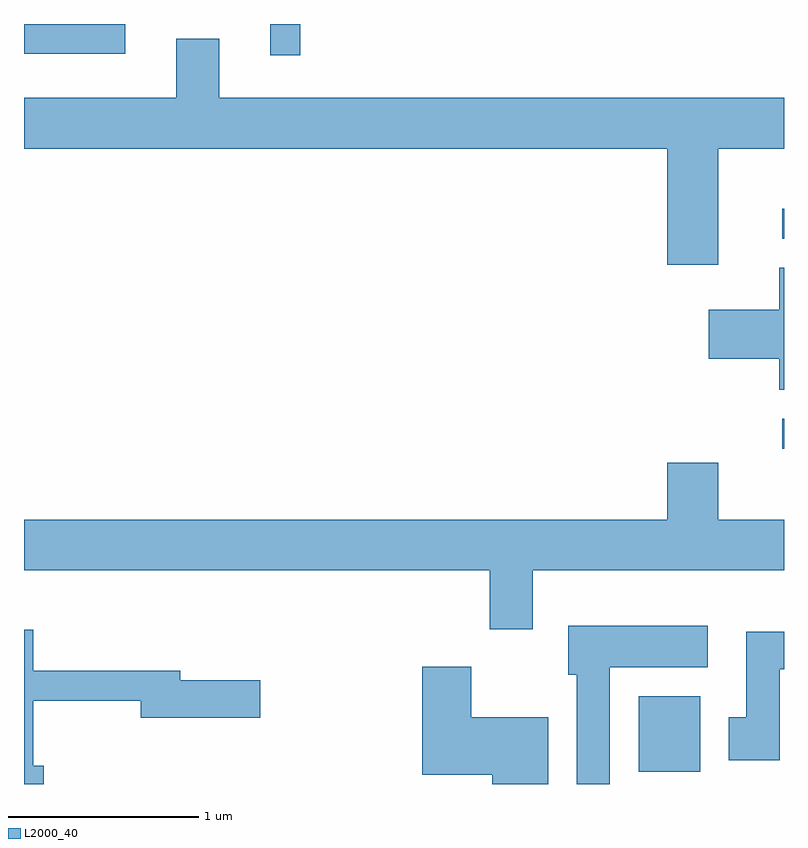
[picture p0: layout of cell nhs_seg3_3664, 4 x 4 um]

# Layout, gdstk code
import gdstk
lib = gdstk.Library(unit=1e-6, precision=1e-09)
def R(c, l, rs):  # rectangles x0, y0, x1, y1
    for r in rs: c.add(gdstk.rectangle(r[:2], r[2:], *l))
def P(c, l, *ps):  # polygons
    for p in ps: c.add(gdstk.Polygon(p, *l))
L2000_40 = (2000, 40)

nhs_seg3_3664 = lib.new_cell('nhs_seg3_3664')
R(nhs_seg3_3664, L2000_40, [(294.846,1235.956,295.169,1236.354), (295.603,1237.656,295.611,1237.814), (295.603,1238.761,295.611,1238.919), (292.906,1239.728,293.064,1239.892), (291.611,1239.736,292.144,1239.892)])
P(nhs_seg3_3664, L2000_40, [(295.264,1239.236),(295.611,1239.236),(295.611,1239.504),(292.639,1239.504),(292.639,1239.814),(292.411,1239.814),(292.411,1239.504),(291.611,1239.504),(291.611,1239.236),(294.996,1239.236),(294.996,1238.626),(295.264,1238.626)],
  [(295.611,1238.609),(295.586,1238.609),(295.586,1238.389),(295.216,1238.389),(295.216,1238.131),(295.586,1238.131),(295.586,1237.966),(295.611,1237.966)],
  [(294.289,1237.016),(295.611,1237.016),(295.611,1237.284),(295.264,1237.284),(295.264,1237.584),(294.996,1237.584),(294.996,1237.284),(291.611,1237.284),(291.611,1237.016),(294.061,1237.016),(294.061,1236.706),(294.289,1236.706)],
  [(294.694,1236.506),(295.209,1236.506),(295.209,1236.724),(294.476,1236.724),(294.476,1236.466),(294.521,1236.466),(294.521,1235.892),(294.694,1235.892)],
  [(291.714,1235.989),(291.659,1235.989),(291.659,1236.331),(292.226,1236.331),(292.226,1236.241),(292.854,1236.241),(292.854,1236.439),(292.434,1236.439),(292.434,1236.489),(291.659,1236.489),(291.659,1236.703),(291.611,1236.703),(291.611,1235.892),(291.714,1235.892)],
  [(295.589,1236.496),(295.611,1236.496),(295.611,1236.694),(295.411,1236.694),(295.411,1236.244),(295.321,1236.244),(295.321,1236.016),(295.589,1236.016)],
  [(294.369,1236.244),(293.964,1236.244),(293.964,1236.509),(293.706,1236.509),(293.706,1235.941),(294.076,1235.941),(294.076,1235.892),(294.369,1235.892)])

lib.write_gds('nhs_seg3_3664.gds')
